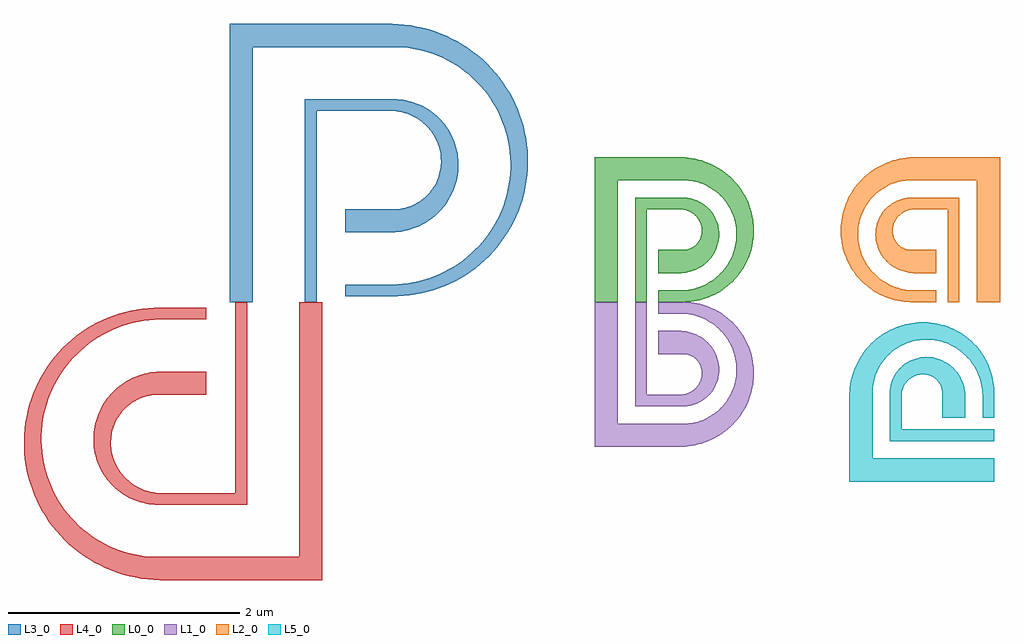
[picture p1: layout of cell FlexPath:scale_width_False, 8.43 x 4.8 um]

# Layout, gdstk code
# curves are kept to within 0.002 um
import gdstk
lib = gdstk.Library(unit=1e-6, precision=1e-12)
def P(c, l, *ps):  # polygons
    for p in ps: c.add(gdstk.Polygon(p, *l))
L0_0 = (0, 0)
L1_0 = (1, 0)
L2_0 = (2, 0)
L3_0 = (3, 0)
L4_0 = (4, 0)
L5_0 = (5, 0)

flexpath_scale_width_fal = lib.new_cell('FlexPath:scale_width_False')
P(flexpath_scale_width_fal, L0_0, [(0.1,0),(0.2,0),(0.2,0.8),(0.4974,0.8),(0.5233,0.7967),(0.557,0.7867),(0.5951,0.7664),(0.6271,0.7386),(0.6517,0.7051),(0.6653,0.6754),(0.6733,0.6442),(0.6756,0.6126),(0.6722,0.5816),(0.6635,0.5522),(0.6499,0.5253),(0.6321,0.5016),(0.6048,0.4776),(0.5671,0.4582),(0.5266,0.4497),(0.3,0.45),(0.3,0.25),(0.5206,0.2516),(0.568,0.2599),(0.6122,0.2741),(0.6539,0.294),(0.7042,0.3286),(0.7373,0.3599),(0.7656,0.3952),(0.7888,0.4336),(0.8111,0.4887),(0.8211,0.5318),(0.8253,0.5902),(0.8215,0.6336),(0.8077,0.6896),(0.791,0.7291),(0.761,0.7772),(0.7333,0.8092),(0.6905,0.8451),(0.6549,0.8666),(0.617,0.8829),(0.5776,0.894),(0.5372,0.8996),(0.1,0.9)],
  [(-0.25,0),(-0.05,0),(-0.05,1.05),(0.5231,1.0502),(0.5836,1.0452),(0.6432,1.032),(0.7008,1.0108),(0.7553,0.9819),(0.8056,0.9459),(0.8364,0.9181),(0.8777,0.8714),(0.9017,0.8372),(0.9319,0.782),(0.9478,0.7431),(0.965,0.6821),(0.974,0.6191),(0.9744,0.5552),(0.9662,0.4915),(0.9494,0.4292),(0.9244,0.3694),(0.8913,0.3134),(0.8509,0.262),(0.8037,0.2163),(0.7506,0.1772),(0.6925,0.1454),(0.6304,0.1217),(0.5653,0.1064),(0.5208,0.1011),(0.3,0.1),(0.3,0),(0.5524,0.0009),(0.6328,0.0112),(0.7113,0.0323),(0.7619,0.0523),(0.8107,0.0767),(0.8794,0.1214),(0.9217,0.1563),(0.9609,0.1949),(1.0128,0.2592),(1.0425,0.3058),(1.068,0.3551),(1.089,0.4065),(1.1054,0.4597),(1.1169,0.5143),(1.1236,0.5698),(1.1241,0.654),(1.1182,0.7099),(1.1072,0.7652),(1.0815,0.846),(1.0584,0.8978),(1.0307,0.9474),(0.9809,1.0168),(0.9426,1.0593),(0.9006,1.0982),(0.8551,1.1333),(0.8066,1.1642),(0.7554,1.1907),(0.7019,1.2126),(0.6183,1.2362),(0.561,1.2457),(0.5035,1.25),(-0.25,1.25)])
P(flexpath_scale_width_fal, L1_0, [(0.2,0),(0.1,0),(0.1,-0.9),(0.5372,-0.8996),(0.604,-0.8872),(0.6549,-0.8666),(0.7018,-0.8369),(0.743,-0.799),(0.777,-0.7539),(0.7971,-0.7162),(0.8158,-0.662),(0.8234,-0.6192),(0.8245,-0.561),(0.8184,-0.5173),(0.8012,-0.4607),(0.7816,-0.4205),(0.7472,-0.3713),(0.7157,-0.3386),(0.6671,-0.3018),(0.6264,-0.2801),(0.583,-0.264),(0.5374,-0.2538),(0.5002,-0.25),(0.3,-0.25),(0.3,-0.45),(0.5334,-0.4504),(0.5736,-0.4607),(0.6106,-0.4819),(0.6369,-0.5072),(0.6537,-0.5317),(0.6662,-0.5594),(0.6736,-0.5892),(0.6755,-0.6205),(0.6719,-0.6521),(0.6624,-0.683),(0.6474,-0.7122),(0.6213,-0.7447),(0.5951,-0.7664),(0.557,-0.7867),(0.5233,-0.7967),(0.4974,-0.8),(0.2,-0.8)],
  [(-0.05,0),(-0.25,0),(-0.25,-1.25),(0.5035,-1.25),(0.561,-1.2457),(0.6466,-1.2296),(0.7289,-1.2022),(0.8066,-1.1642),(0.8551,-1.1333),(0.9006,-1.0982),(0.9623,-1.0385),(1.0152,-0.9712),(1.0584,-0.8978),(1.0815,-0.846),(1.0999,-0.7925),(1.1182,-0.7099),(1.1252,-0.6259),(1.1209,-0.542),(1.1118,-0.4869),(1.0978,-0.4329),(1.068,-0.3551),(1.0282,-0.2822),(0.9791,-0.2155),(0.9417,-0.1752),(0.9009,-0.1384),(0.8342,-0.0906),(0.7866,-0.0639),(0.7368,-0.0417),(0.6593,-0.0171),(0.6061,-0.0066),(0.5524,-0.0009),(0.3,0),(0.3,-0.1),(0.5208,-0.1011),(0.5653,-0.1064),(0.6304,-0.1217),(0.6925,-0.1454),(0.7506,-0.1772),(0.8037,-0.2163),(0.8652,-0.2785),(0.9032,-0.3316),(0.9336,-0.389),(0.956,-0.4497),(0.9726,-0.5339),(0.9751,-0.5978),(0.965,-0.6821),(0.9478,-0.7431),(0.9126,-0.8193),(0.8646,-0.8876),(0.8364,-0.9181),(0.7893,-0.9587),(0.7194,-1.002),(0.6819,-1.0187),(0.6235,-1.0373),(0.5836,-1.0452),(0.5231,-1.0502),(-0.05,-1.05)])
P(flexpath_scale_width_fal, L2_0, [(2.8,0),(2.9,0),(2.9,0.9),(2.4628,0.8996),(2.396,0.8872),(2.3451,0.8666),(2.2982,0.8369),(2.257,0.799),(2.223,0.7539),(2.2029,0.7162),(2.1842,0.662),(2.1766,0.6192),(2.1755,0.561),(2.1816,0.5173),(2.1988,0.4607),(2.2184,0.4205),(2.2528,0.3713),(2.2843,0.3386),(2.3329,0.3018),(2.3736,0.2801),(2.417,0.264),(2.4626,0.2538),(2.4998,0.25),(2.7,0.25),(2.7,0.45),(2.4666,0.4504),(2.4264,0.4607),(2.3894,0.4819),(2.3631,0.5072),(2.3463,0.5317),(2.3338,0.5594),(2.3264,0.5892),(2.3245,0.6205),(2.3281,0.6521),(2.3376,0.683),(2.3526,0.7122),(2.3787,0.7447),(2.4049,0.7664),(2.443,0.7867),(2.4767,0.7967),(2.5026,0.8),(2.8,0.8)],
  [(3.05,0),(3.25,0),(3.25,1.25),(2.4965,1.25),(2.439,1.2457),(2.3534,1.2296),(2.2711,1.2022),(2.1934,1.1642),(2.1449,1.1333),(2.0994,1.0982),(2.0377,1.0385),(1.9848,0.9712),(1.9416,0.8978),(1.9185,0.846),(1.9001,0.7925),(1.8818,0.7099),(1.8748,0.6259),(1.8791,0.542),(1.8882,0.4869),(1.9022,0.4329),(1.932,0.3551),(1.9718,0.2822),(2.0209,0.2155),(2.0583,0.1752),(2.0991,0.1384),(2.1658,0.0906),(2.2134,0.0639),(2.2632,0.0417),(2.3407,0.0171),(2.3939,0.0066),(2.4476,0.0009),(2.7,0),(2.7,0.1),(2.4792,0.1011),(2.4347,0.1064),(2.3696,0.1217),(2.3075,0.1454),(2.2494,0.1772),(2.1963,0.2163),(2.1348,0.2785),(2.0968,0.3316),(2.0664,0.389),(2.044,0.4497),(2.0274,0.5339),(2.0249,0.5978),(2.035,0.6821),(2.0522,0.7431),(2.0874,0.8193),(2.1354,0.8876),(2.1636,0.9181),(2.2107,0.9587),(2.2806,1.002),(2.3181,1.0187),(2.3764,1.0373),(2.4164,1.0452),(2.4769,1.0502),(3.05,1.05)])
P(flexpath_scale_width_fal, L3_0, [(-2.75,0),(-2.65,0),(-2.65,1.65),(-2.0042,1.65),(-1.9218,1.6402),(-1.8456,1.6165),(-1.8095,1.5998),(-1.7588,1.5688),(-1.6989,1.5178),(-1.6727,1.4886),(-1.6387,1.441),(-1.6042,1.3716),(-1.5827,1.2976),(-1.5748,1.2215),(-1.5807,1.1457),(-1.5998,1.0726),(-1.6314,1.0047),(-1.6744,0.9438),(-1.7272,0.892),(-1.7721,0.86),(-1.8207,0.8345),(-1.872,0.8158),(-1.925,0.8042),(-1.9788,0.7998),(-2.4,0.8),(-2.4,0.6),(-2.0016,0.6),(-1.9167,0.6081),(-1.8643,0.6194),(-1.8133,0.6352),(-1.7402,0.6673),(-1.6942,0.6939),(-1.651,0.7245),(-1.5918,0.7771),(-1.5567,0.8163),(-1.5252,0.8584),(-1.4856,0.9262),(-1.4645,0.9739),(-1.4477,1.0232),(-1.4311,1.0993),(-1.4258,1.1508),(-1.4251,1.2024),(-1.4328,1.2792),(-1.4435,1.3293),(-1.4587,1.3782),(-1.4894,1.4483),(-1.5149,1.4923),(-1.5442,1.5337),(-1.577,1.5722),(-1.613,1.6076),(-1.652,1.6395),(-1.6935,1.6677),(-1.7373,1.692),(-1.8064,1.7208),(-1.8785,1.74),(-1.9522,1.7492),(-2.75,1.75)],
  [(-3.4,0),(-3.2,0),(-3.2,2.2),(-1.9536,2.1997),(-1.8641,2.193),(-1.8195,2.1866),(-1.7315,2.1678),(-1.6881,2.1555),(-1.6032,2.125),(-1.5618,2.1069),(-1.4815,2.0652),(-1.4052,2.0164),(-1.3688,1.9895),(-1.2996,1.9307),(-1.2358,1.866),(-1.2062,1.8315),(-1.1516,1.7586),(-1.1037,1.681),(-1.0824,1.6406),(-1.0452,1.5571),(-1.0157,1.4705),(-0.994,1.3814),(-0.9804,1.2907),(-0.9766,1.2449),(-0.9753,1.1529),(-0.9777,1.1069),(-0.9888,1.0154),(-0.9974,0.9701),(-1.0207,0.8807),(-1.0353,0.8369),(-1.0704,0.7513),(-1.0909,0.7097),(-1.1373,0.6294),(-1.1632,0.5908),(-1.22,0.5174),(-1.2509,0.4826),(-1.3173,0.4172),(-1.3527,0.3868),(-1.4273,0.3309),(-1.5069,0.2818),(-1.5482,0.26),(-1.6338,0.222),(-1.7225,0.1917),(-1.7679,0.1796),(-1.8601,0.1615),(-1.9067,0.1555),(-1.9974,0.15),(-2.4,0.15),(-2.4,0.05),(-1.9973,0.05),(-1.8975,0.0531),(-1.7949,0.0655),(-1.744,0.0751),(-1.6438,0.1012),(-1.5946,0.1176),(-1.4986,0.157),(-1.4065,0.2049),(-1.3188,0.261),(-1.2769,0.2919),(-1.1975,0.3593),(-1.1243,0.4337),(-1.058,0.5144),(-1.0276,0.557),(-0.9726,0.646),(-0.9258,0.7398),(-0.8875,0.8375),(-0.8581,0.9383),(-0.8378,1.0415),(-0.8269,1.1462),(-0.8253,1.2517),(-0.8281,1.3044),(-0.8408,1.4092),(-0.8628,1.5126),(-0.8941,1.6138),(-0.9131,1.6633),(-0.9577,1.7595),(-1.0109,1.8514),(-1.0721,1.9384),(-1.1057,1.9797),(-1.1781,2.0578),(-1.2574,2.1291),(-1.3429,2.1931),(-1.4339,2.2492),(-1.5296,2.2971),(-1.6294,2.3362),(-1.7324,2.3662),(-1.7848,2.3777),(-1.8911,2.3937),(-1.9951,2.4),(-3.4,2.4)])
P(flexpath_scale_width_fal, L4_0, [(-3.25,0),(-3.35,0),(-3.35,-1.65),(-3.9958,-1.65),(-4.0782,-1.6402),(-4.1544,-1.6165),(-4.1905,-1.5998),(-4.2412,-1.5688),(-4.3011,-1.5178),(-4.3273,-1.4886),(-4.3613,-1.441),(-4.3958,-1.3716),(-4.4173,-1.2976),(-4.4252,-1.2215),(-4.4193,-1.1457),(-4.4002,-1.0726),(-4.3686,-1.0047),(-4.3256,-0.9438),(-4.2728,-0.892),(-4.2279,-0.86),(-4.1793,-0.8345),(-4.128,-0.8158),(-4.075,-0.8042),(-4.0212,-0.7998),(-3.6,-0.8),(-3.6,-0.6),(-3.9984,-0.6),(-4.0833,-0.6081),(-4.1357,-0.6194),(-4.1867,-0.6352),(-4.2598,-0.6673),(-4.3058,-0.6939),(-4.349,-0.7245),(-4.4082,-0.7771),(-4.4433,-0.8163),(-4.4748,-0.8584),(-4.5144,-0.9262),(-4.5355,-0.9739),(-4.5523,-1.0232),(-4.5689,-1.0993),(-4.5742,-1.1508),(-4.5749,-1.2024),(-4.5672,-1.2792),(-4.5565,-1.3293),(-4.5413,-1.3782),(-4.5106,-1.4483),(-4.4851,-1.4923),(-4.4558,-1.5337),(-4.423,-1.5722),(-4.387,-1.6076),(-4.348,-1.6395),(-4.3065,-1.6677),(-4.2627,-1.692),(-4.1936,-1.7208),(-4.1215,-1.74),(-4.0478,-1.7492),(-3.25,-1.75)],
  [(-2.6,0),(-2.8,0),(-2.8,-2.2),(-4.0464,-2.1997),(-4.1359,-2.193),(-4.1805,-2.1866),(-4.2685,-2.1678),(-4.3119,-2.1555),(-4.3968,-2.125),(-4.4382,-2.1069),(-4.5185,-2.0652),(-4.5948,-2.0164),(-4.6312,-1.9895),(-4.7004,-1.9307),(-4.7642,-1.866),(-4.7938,-1.8315),(-4.8484,-1.7586),(-4.8963,-1.681),(-4.9176,-1.6406),(-4.9548,-1.5571),(-4.9843,-1.4705),(-5.006,-1.3814),(-5.0196,-1.2907),(-5.0234,-1.2449),(-5.0247,-1.1529),(-5.0223,-1.1069),(-5.0112,-1.0154),(-5.0026,-0.9701),(-4.9793,-0.8807),(-4.9647,-0.8369),(-4.9296,-0.7513),(-4.9091,-0.7097),(-4.8627,-0.6294),(-4.8368,-0.5908),(-4.78,-0.5174),(-4.7491,-0.4826),(-4.6827,-0.4172),(-4.6473,-0.3868),(-4.5727,-0.3309),(-4.4931,-0.2818),(-4.4518,-0.26),(-4.3662,-0.222),(-4.2775,-0.1917),(-4.2321,-0.1796),(-4.1399,-0.1615),(-4.0933,-0.1555),(-4.0026,-0.15),(-3.6,-0.15),(-3.6,-0.05),(-4.0027,-0.05),(-4.1025,-0.0531),(-4.2051,-0.0655),(-4.256,-0.0751),(-4.3562,-0.1012),(-4.4054,-0.1176),(-4.5014,-0.157),(-4.5935,-0.2049),(-4.6812,-0.261),(-4.7231,-0.2919),(-4.8025,-0.3593),(-4.8757,-0.4337),(-4.942,-0.5144),(-4.9724,-0.557),(-5.0274,-0.646),(-5.0742,-0.7398),(-5.1125,-0.8375),(-5.1419,-0.9383),(-5.1622,-1.0415),(-5.1731,-1.1462),(-5.1747,-1.2517),(-5.1719,-1.3044),(-5.1592,-1.4092),(-5.1372,-1.5126),(-5.1059,-1.6138),(-5.0869,-1.6633),(-5.0423,-1.7595),(-4.9891,-1.8514),(-4.9279,-1.9384),(-4.8943,-1.9797),(-4.8219,-2.0578),(-4.7426,-2.1291),(-4.6571,-2.1931),(-4.5661,-2.2492),(-4.4704,-2.2971),(-4.3706,-2.3362),(-4.2676,-2.3662),(-4.2152,-2.3777),(-4.1089,-2.3937),(-4.0049,-2.4),(-2.6,-2.4)])
P(flexpath_scale_width_fal, L5_0, [(3.2,-1.2),(3.2,-1.1),(2.4,-1.1),(2.4,-0.8026),(2.4033,-0.7767),(2.4133,-0.743),(2.4336,-0.7049),(2.4614,-0.6729),(2.4949,-0.6483),(2.5246,-0.6347),(2.5558,-0.6267),(2.5874,-0.6244),(2.6184,-0.6278),(2.6478,-0.6365),(2.6747,-0.6501),(2.6984,-0.6679),(2.7224,-0.6952),(2.7418,-0.7329),(2.7503,-0.7734),(2.75,-1),(2.95,-1),(2.9484,-0.7794),(2.9401,-0.732),(2.9259,-0.6878),(2.906,-0.6461),(2.8714,-0.5958),(2.8401,-0.5627),(2.8048,-0.5344),(2.7664,-0.5112),(2.7113,-0.4889),(2.6682,-0.4789),(2.6098,-0.4747),(2.5664,-0.4785),(2.5104,-0.4923),(2.4709,-0.509),(2.4228,-0.539),(2.3908,-0.5667),(2.3549,-0.6095),(2.3334,-0.6451),(2.3171,-0.683),(2.306,-0.7224),(2.3004,-0.7628),(2.3,-1.2)],
  [(3.2,-1.55),(3.2,-1.35),(2.15,-1.35),(2.1498,-0.7769),(2.1548,-0.7164),(2.168,-0.6568),(2.1892,-0.5992),(2.2181,-0.5447),(2.2541,-0.4944),(2.2819,-0.4636),(2.3286,-0.4223),(2.3628,-0.3983),(2.418,-0.3681),(2.4569,-0.3522),(2.5179,-0.335),(2.5809,-0.326),(2.6448,-0.3256),(2.7085,-0.3338),(2.7708,-0.3506),(2.8306,-0.3756),(2.8866,-0.4087),(2.938,-0.4491),(2.9837,-0.4963),(3.0228,-0.5494),(3.0546,-0.6075),(3.0783,-0.6696),(3.0936,-0.7347),(3.0989,-0.7792),(3.1,-1),(3.2,-1),(3.1991,-0.7476),(3.1888,-0.6672),(3.1677,-0.5887),(3.1477,-0.5381),(3.1233,-0.4893),(3.0786,-0.4206),(3.0437,-0.3783),(3.0051,-0.3391),(2.9408,-0.2872),(2.8942,-0.2575),(2.8449,-0.232),(2.7935,-0.211),(2.7403,-0.1946),(2.6857,-0.1831),(2.6302,-0.1764),(2.546,-0.1759),(2.4901,-0.1818),(2.4348,-0.1928),(2.354,-0.2185),(2.3022,-0.2416),(2.2526,-0.2693),(2.1832,-0.3191),(2.1407,-0.3574),(2.1018,-0.3994),(2.0667,-0.4449),(2.0358,-0.4934),(2.0093,-0.5446),(1.9874,-0.5981),(1.9638,-0.6817),(1.9543,-0.739),(1.95,-0.7965),(1.95,-1.55)])

lib.write_gds('FlexPath_scale_width_False.gds')
